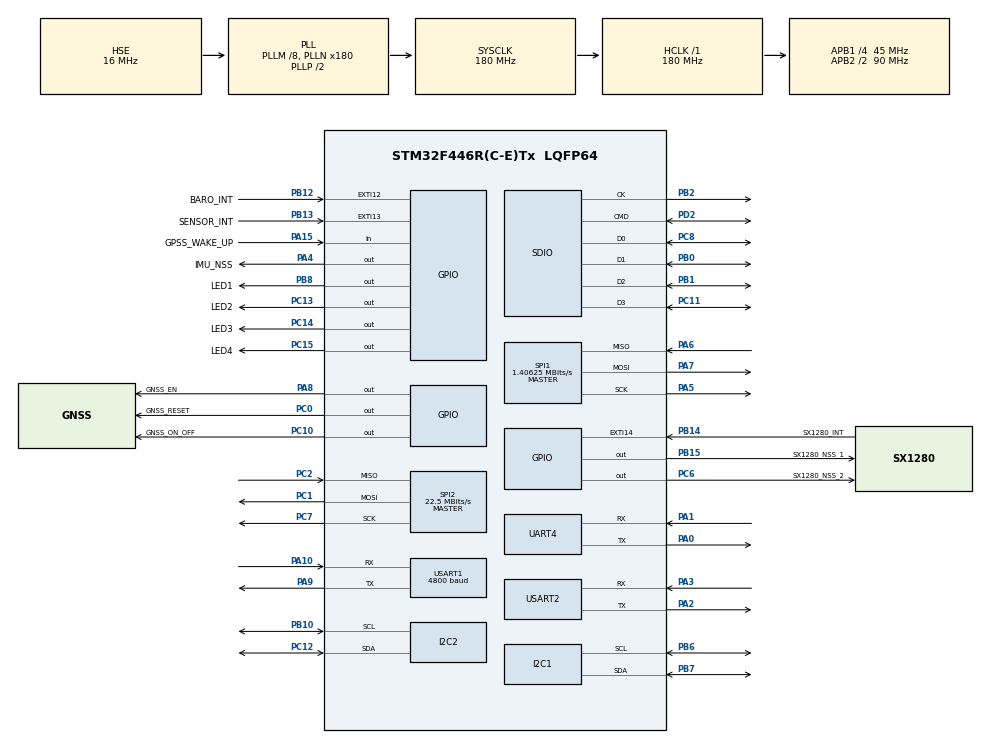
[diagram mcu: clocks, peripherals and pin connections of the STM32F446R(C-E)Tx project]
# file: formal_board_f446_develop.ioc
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Dma.Request0=SDIO_TX
Dma.Request1=SDIO_RX
Dma.SDIO_RX.1.Direction=DMA_PERIPH_TO_MEMORY
Dma.SDIO_RX.1.FIFOMode=DMA_FIFOMODE_ENABLE
Dma.SDIO_RX.1.FIFOThreshold=DMA_FIFO_THRESHOLD_FULL
Dma.SDIO_RX.1.Instance=DMA2_Stream6
Dma.SDIO_RX.1.MemBurst=DMA_MBURST_INC4
Dma.SDIO_RX.1.MemDataAlignment=DMA_MDATAALIGN_WORD
Dma.SDIO_RX.1.MemInc=DMA_MINC_ENABLE
Dma.SDIO_RX.1.Mode=DMA_PFCTRL
Dma.SDIO_RX.1.PeriphBurst=DMA_PBURST_INC4
Dma.SDIO_RX.1.PeriphDataAlignment=DMA_PDATAALIGN_WORD
Dma.SDIO_RX.1.PeriphInc=DMA_PINC_DISABLE
Dma.SDIO_RX.1.Priority=DMA_PRIORITY_LOW
Dma.SDIO_TX.0.Direction=DMA_MEMORY_TO_PERIPH
Dma.SDIO_TX.0.FIFOMode=DMA_FIFOMODE_ENABLE
Dma.SDIO_TX.0.FIFOThreshold=DMA_FIFO_THRESHOLD_FULL
Dma.SDIO_TX.0.Instance=DMA2_Stream3
Dma.SDIO_TX.0.MemBurst=DMA_MBURST_INC4
Dma.SDIO_TX.0.MemDataAlignment=DMA_MDATAALIGN_WORD
Dma.SDIO_TX.0.MemInc=DMA_MINC_ENABLE
Dma.SDIO_TX.0.Mode=DMA_PFCTRL
Dma.SDIO_TX.0.PeriphBurst=DMA_PBURST_INC4
Dma.SDIO_TX.0.PeriphDataAlignment=DMA_PDATAALIGN_WORD
Dma.SDIO_TX.0.PeriphInc=DMA_PINC_DISABLE
Dma.SDIO_TX.0.Priority=DMA_PRIORITY_LOW
FATFS.USE_DMA_CODE_SD=1
Mcu.Family=STM32F4
Mcu.Name=STM32F446R(C-E)Tx
Mcu.Package=LQFP64
NVIC.DMA2_Stream3_IRQn=true\:0\:0\:false\:false\:true\:false\:true\:true
NVIC.DMA2_Stream6_IRQn=true\:0\:0\:false\:false\:true\:false\:true\:true
NVIC.PriorityGroup=NVIC_PRIORITYGROUP_4
NVIC.SDIO_IRQn=true\:0\:0\:false\:false\:true\:true\:true\:true
PA0-WKUP.Mode=Asynchronous
PA0-WKUP.Signal=UART4_TX
PA1.Mode=Asynchronous
PA1.Signal=UART4_RX
PA10.Mode=Asynchronous
PA10.Signal=USART1_RX
PA13.Mode=Serial_Wire
PA13.Signal=SYS_JTMS-SWDIO
PA14.Mode=Serial_Wire
PA14.Signal=SYS_JTCK-SWCLK
PA15.GPIO_Label=GPSS_WAKE_UP
PA15.Signal=GPIO_Input
PA2.Mode=Asynchronous
PA2.Signal=USART2_TX
PA3.Mode=Asynchronous
PA3.Signal=USART2_RX
PA4.GPIO_Label=IMU_NSS
PA4.GPIO_Speed=GPIO_SPEED_FREQ_VERY_HIGH
PA4.PinState=GPIO_PIN_SET
PA4.Signal=GPIO_Output
PA5.Mode=Full_Duplex_Master
PA5.Signal=SPI1_SCK
PA6.GPIO_PuPd=GPIO_PULLUP
PA6.Mode=Full_Duplex_Master
PA6.Signal=SPI1_MISO
PA7.Mode=Full_Duplex_Master
PA7.Signal=SPI1_MOSI
PA8.GPIO_Label=GNSS_EN
PA8.Signal=GPIO_Output
PA9.Mode=Asynchronous
PA9.Signal=USART1_TX
PB0.Mode=SD_4_bits_Wide_bus
PB0.Signal=SDIO_D1
PB1.Mode=SD_4_bits_Wide_bus
PB1.Signal=SDIO_D2
PB10.GPIO_Pu=GPIO_PULLUP
PB10.Mode=I2C
PB10.Signal=I2C2_SCL
PB12.GPIO_Label=BARO_INT
PB12.Signal=GPXTI12
PB13.GPIO_Label=SENSOR_INT
PB13.Signal=GPXTI13
PB14.GPIO_Label=SX1280_INT
PB14.Signal=GPXTI14
PB15.GPIO_Label=SX1280_NSS_1
PB15.Signal=GPIO_Output
PB2.Mode=SD_4_bits_Wide_bus
PB2.Signal=SDIO_CK
PB6.GPIO_Pu=GPIO_PULLUP
PB6.Mode=I2C
PB6.Signal=I2C1_SCL
PB7.GPIO_Pu=GPIO_PULLUP
PB7.Mode=I2C
PB7.Signal=I2C1_SDA
PB8.GPIO_Label=LED1
PB8.Signal=GPIO_Output
PC0.GPIO_Label=GNSS_RESET
PC0.Signal=GPIO_Output
PC1.Mode=Full_Duplex_Master
PC1.Signal=SPI2_MOSI
PC10.GPIO_Label=GNSS_ON_OFF
PC10.GPIO_Speed=GPIO_SPEED_FREQ_HIGH
PC10.PinState=GPIO_PIN_SET
PC10.Signal=GPIO_Output
PC11.Mode=SD_4_bits_Wide_bus
PC11.Signal=SDIO_D3
PC12.GPIO_Pu=GPIO_PULLUP
PC12.Mode=I2C
PC12.Signal=I2C2_SDA
PC13.GPIO_Label=LED2
PC13.Signal=GPIO_Output
PC14-OSC32_IN.GPIO_Label=LED3
PC14-OSC32_IN.Signal=GPIO_Output
PC15-OSC32_OUT.GPIO_Label=LED4
PC15-OSC32_OUT.Signal=GPIO_Output
PC2.Mode=Full_Duplex_Master
PC2.Signal=SPI2_MISO
PC6.GPIO_Label=SX1280_NSS_2
PC6.Signal=GPIO_Output
PC7.Mode=Full_Duplex_Master
PC7.Signal=SPI2_SCK
PC8.Mode=SD_4_bits_Wide_bus
PC8.Signal=SDIO_D0
PD2.Mode=SD_4_bits_Wide_bus
PD2.Signal=SDIO_CMD
PH0-OSC_IN.Mode=HSE-External-Oscillator
PH0-OSC_IN.Signal=RCC_OSC_IN
PH1-OSC_OUT.Mode=HSE-External-Oscillator
PH1-OSC_OUT.Signal=RCC_OSC_OUT
ProjectManager.HeapSize=0x200
ProjectManager.StackSize=0x400
ProjectManager.TargetToolchain=STM32CubeIDE
RCC.AHBFreq_Value=180000000
RCC.APB1CLKDivider=RCC_HCLK_DIV4
RCC.APB1Freq_Value=45000000
RCC.APB1TimFreq_Value=90000000
RCC.APB2CLKDivider=RCC_HCLK_DIV2
RCC.APB2Freq_Value=90000000
RCC.APB2TimFreq_Value=180000000
RCC.CortexFreq_Value=180000000
RCC.HCLKFreq_Value=180000000
RCC.HSE_VALUE=16000000
RCC.PLLM=8
RCC.PLLN=180
RCC.PLLQ=8
RCC.PLLSourceVirtual=RCC_PLLSOURCE_HSE
RCC.SYSCLKFreq_VALUE=180000000
RCC.SYSCLKSource=RCC_SYSCLKSOURCE_PLLCLK
RCC.USBFreq_Value=45000000
RCC.VCOOutputFreq_Value=360000000
SDIO.ClockDiv=4
SPI1.BaudRatePrescaler=SPI_BAUDRATEPRESCALER_64
SPI1.CalculateBaudRate=1.40625 MBits/s
SPI1.Direction=SPI_DIRECTION_2LINES
SPI1.Mode=SPI_MODE_MASTER
SPI1.VirtualType=VM_MASTER
SPI2.BaudRatePrescaler=SPI_BAUDRATEPRESCALER_2
SPI2.CalculateBaudRate=22.5 MBits/s
SPI2.Direction=SPI_DIRECTION_2LINES
SPI2.Mode=SPI_MODE_MASTER
SPI2.VirtualType=VM_MASTER
UART4.VirtualMode=Asynchronous
USART1.BaudRate=4800
USART1.VirtualMode=VM_ASYNC
USART2.VirtualMode=VM_ASYNC
VP_FATFS_VS_SDIO.Mode=SDIO
board=custom

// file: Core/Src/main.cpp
/* USER CODE BEGIN Header */
/**
 ******************************************************************************
 * @file           : main.c
 * @brief          : Main program body
 ******************************************************************************
 * @attention
 *
 * Copyright (c) 2023 STMicroelectronics.
 * All rights reserved.
 *
 * This software is licensed under terms that can be found in the LICENSE file
 * in the root directory of this software component.
 * If no LICENSE file comes with this software, it is provided AS-IS.
 *
 ******************************************************************************
 */
/* USER CODE END Header */
#include "main.h"
#include "fatfs.h"

/* USER CODE BEGIN Includes */
#include "util.h"
#include "Pressure_WSEN_PADS.h"
#include "IMU_3DIM_WSEN_ITDS.h"
#include "IMU_6DIM_WSEN_ISDS.h"
/* USER CODE END Includes */

/* USER CODE BEGIN PD */
#define WSEN_ITDS_SAO 0
#define WSEN_PADS_SAO 0
#define WSEN_ISDS_CS_PORT IMU_NSS_GPIO_Port
#define WSEN_ISDS_CS_PIN IMU_NSS_Pin
/* USER CODE END PD */

I2C_HandleTypeDef hi2c1;
I2C_HandleTypeDef hi2c2;

SD_HandleTypeDef hsd;
DMA_HandleTypeDef hdma_sdio_tx;
DMA_HandleTypeDef hdma_sdio_rx;

SPI_HandleTypeDef hspi1;
SPI_HandleTypeDef hspi2;

UART_HandleTypeDef huart4;
UART_HandleTypeDef huart1;
UART_HandleTypeDef huart2;

/* USER CODE BEGIN PV */
Pressure_WSEN_PADS altimeter_WE(&hi2c1, WSEN_PADS_SAO);
IMU_3DIM_WSEN_ITDS accelerator_WE(&hi2c1, WSEN_ITDS_SAO);
IMU_6DIM_WSEN_ISDS IMU_WE(&hspi1, WSEN_ISDS_CS_PORT, WSEN_ISDS_CS_PIN);
uint8_t Rx_data[10];
/* USER CODE END PV */

void SystemClock_Config(void);
static void MX_GPIO_Init(void);
static void MX_DMA_Init(void);
static void MX_I2C1_Init(void);
static void MX_I2C2_Init(void);
static void MX_SDIO_SD_Init(void);
static void MX_SPI1_Init(void);
static void MX_SPI2_Init(void);
static void MX_UART4_Init(void);
static void MX_USART1_UART_Init(void);
static void MX_USART2_UART_Init(void);

int main(void)
{
  /* USER CODE BEGIN 1 */
  bool ready = false;
  uint8_t addr[128] = {};
  uint8_t num = 0;

  /* USER CODE END 1 */

  /* MCU Configuration--------------------------------------------------------*/

  /* Reset of all peripherals, Initializes the Flash interface and the Systick. */
  HAL_Init();

  /* Configure the system clock */
  SystemClock_Config();

  /* Initialize all configured peripherals */
  MX_GPIO_Init();
  MX_DMA_Init();
  MX_I2C1_Init();
  MX_I2C2_Init();
  MX_SDIO_SD_Init();
  MX_SPI1_Init();
  MX_SPI2_Init();
  MX_UART4_Init();
  MX_USART1_UART_Init();
  MX_USART2_UART_Init();
  MX_FATFS_Init();
  /* USER CODE BEGIN 2 */
  FATFS fs;
  FIL fil;
  FRESULT fresult;

  fresult = f_mount(&fs, "/", 1);

  i2c_addr_scan(&hi2c1);
  i2c_addr_scan(&hi2c2);

  HAL_Delay(100);
  debug_print("Test start.\r\n");

  HAL_GPIO_WritePin(LED1_GPIO_Port, LED1_Pin, GPIO_PIN_SET);
  HAL_GPIO_WritePin(LED2_GPIO_Port, LED2_Pin, GPIO_PIN_SET);
  HAL_GPIO_WritePin(LED3_GPIO_Port, LED3_Pin, GPIO_PIN_SET);
  HAL_GPIO_WritePin(LED4_GPIO_Port, LED4_Pin, GPIO_PIN_SET);

  ready = altimeter_WE.isCommunicationReady();
  if (ready == false)
  {
    debug_print("WE altimeter communicates fails.\r\n");
    HAL_GPIO_WritePin(LED1_GPIO_Port, LED1_Pin, GPIO_PIN_RESET);
  }
  ready = IMU_WE.isCommunicationReady();
  if (ready == false)
  {
    debug_print("WE 6-dim IMU communicates fails\r\n");
    HAL_GPIO_WritePin(LED2_GPIO_Port, LED2_Pin, GPIO_PIN_RESET);
  }
  ready = accelerator_WE.isCommunicationReady();
  if (ready == false)
  {
    debug_print("WE 3-dim IMU communicates fails\r\n");
    HAL_GPIO_WritePin(LED3_GPIO_Port, LED3_Pin, GPIO_PIN_RESET);
  }

  HAL_GPIO_WritePin(GNSS_EN_GPIO_Port, GNSS_EN_Pin, GPIO_PIN_SET);
  HAL_Delay(1000);
  HAL_GPIO_WritePin(GNSS_ON_OFF_GPIO_Port, GNSS_ON_OFF_Pin, GPIO_PIN_RESET);
  char text[50];
  int num_text;
  num_text = sprintf(text, "$PSRF101,0,0,0,0,0,0,12,1*15");
  HAL_UART_Transmit(&huart1, (unsigned char *)text, num_text, 10);
  /* USER CODE END 2 */

  /* Infinite loop */
  /* USER CODE BEGIN WHILE */
  HAL_UART_Receive_DMA (&huart1, Rx_data, 10);
  HAL_StatusTypeDef rv;
  num_text = sprintf(text, "$PSRF125*21");
  while (1)
  {
	rv = HAL_UART_Transmit(&huart1, (unsigned char *)text, 11, 10);
    // HAL_UART_Transmit(&huart2, (unsigned char *)text, 12, 10);

    /* USER CODE END WHILE */

    /* USER CODE BEGIN 3 */
	HAL_Delay(100);
  }
  /* USER CODE END 3 */
}

void SystemClock_Config(void)
{
  RCC_OscInitTypeDef RCC_OscInitStruct = {0};
  RCC_ClkInitTypeDef RCC_ClkInitStruct = {0};

  /** Configure the main internal regulator output voltage
  */
  __HAL_RCC_PWR_CLK_ENABLE();
  __HAL_PWR_VOLTAGESCALING_CONFIG(PWR_REGULATOR_VOLTAGE_SCALE1);

  /** Initializes the RCC Oscillators according to the specified parameters
  * in the RCC_OscInitTypeDef structure.
  */
  RCC_OscInitStruct.OscillatorType = RCC_OSCILLATORTYPE_HSE;
  RCC_OscInitStruct.HSEState = RCC_HSE_ON;
  RCC_OscInitStruct.PLL.PLLState = RCC_PLL_ON;
  RCC_OscInitStruct.PLL.PLLSource = RCC_PLLSOURCE_HSE;
  RCC_OscInitStruct.PLL.PLLM = 8;
  RCC_OscInitStruct.PLL.PLLN = 180;
  RCC_OscInitStruct.PLL.PLLP = RCC_PLLP_DIV2;
  RCC_OscInitStruct.PLL.PLLQ = 8;
  RCC_OscInitStruct.PLL.PLLR = 2;
  if (HAL_RCC_OscConfig(&RCC_OscInitStruct) != HAL_OK)
  {
    Error_Handler();
  }

  /** Activate the Over-Drive mode
  */
  if (HAL_PWREx_EnableOverDrive() != HAL_OK)
  {
    Error_Handler();
  }

  /** Initializes the CPU, AHB and APB buses clocks
  */
  RCC_ClkInitStruct.ClockType = RCC_CLOCKTYPE_HCLK|RCC_CLOCKTYPE_SYSCLK
                              |RCC_CLOCKTYPE_PCLK1|RCC_CLOCKTYPE_PCLK2;
  RCC_ClkInitStruct.SYSCLKSource = RCC_SYSCLKSOURCE_PLLCLK;
  RCC_ClkInitStruct.AHBCLKDivider = RCC_SYSCLK_DIV1;
  RCC_ClkInitStruct.APB1CLKDivider = RCC_HCLK_DIV4;
  RCC_ClkInitStruct.APB2CLKDivider = RCC_HCLK_DIV2;

  if (HAL_RCC_ClockConfig(&RCC_ClkInitStruct, FLASH_LATENCY_5) != HAL_OK)
  {
    Error_Handler();
  }
}

static void MX_I2C1_Init(void)
{

  hi2c1.Instance = I2C1;
  hi2c1.Init.ClockSpeed = 100000;
  hi2c1.Init.DutyCycle = I2C_DUTYCYCLE_2;
  hi2c1.Init.OwnAddress1 = 0;
  hi2c1.Init.AddressingMode = I2C_ADDRESSINGMODE_7BIT;
  hi2c1.Init.DualAddressMode = I2C_DUALADDRESS_DISABLE;
  hi2c1.Init.OwnAddress2 = 0;
  hi2c1.Init.GeneralCallMode = I2C_GENERALCALL_DISABLE;
  hi2c1.Init.NoStretchMode = I2C_NOSTRETCH_DISABLE;
  if (HAL_I2C_Init(&hi2c1) != HAL_OK)
  {
    Error_Handler();
  }

}

static void MX_I2C2_Init(void)
{

  hi2c2.Instance = I2C2;
  hi2c2.Init.ClockSpeed = 100000;
  hi2c2.Init.DutyCycle = I2C_DUTYCYCLE_2;
  hi2c2.Init.OwnAddress1 = 0;
  hi2c2.Init.AddressingMode = I2C_ADDRESSINGMODE_7BIT;
  hi2c2.Init.DualAddressMode = I2C_DUALADDRESS_DISABLE;
  hi2c2.Init.OwnAddress2 = 0;
  hi2c2.Init.GeneralCallMode = I2C_GENERALCALL_DISABLE;
  hi2c2.Init.NoStretchMode = I2C_NOSTRETCH_DISABLE;
  if (HAL_I2C_Init(&hi2c2) != HAL_OK)
  {
    Error_Handler();
  }

}

static void MX_SDIO_SD_Init(void)
{

  hsd.Instance = SDIO;
  hsd.Init.ClockEdge = SDIO_CLOCK_EDGE_RISING;
  hsd.Init.ClockBypass = SDIO_CLOCK_BYPASS_DISABLE;
  hsd.Init.ClockPowerSave = SDIO_CLOCK_POWER_SAVE_DISABLE;
  hsd.Init.BusWide = SDIO_BUS_WIDE_4B;
  hsd.Init.HardwareFlowControl = SDIO_HARDWARE_FLOW_CONTROL_DISABLE;
  hsd.Init.ClockDiv = 4;

}

static void MX_SPI1_Init(void)
{

  /* SPI1 parameter configuration*/
  hspi1.Instance = SPI1;
  hspi1.Init.Mode = SPI_MODE_MASTER;
  hspi1.Init.Direction = SPI_DIRECTION_2LINES;
  hspi1.Init.DataSize = SPI_DATASIZE_8BIT;
  hspi1.Init.CLKPolarity = SPI_POLARITY_LOW;
  hspi1.Init.CLKPhase = SPI_PHASE_1EDGE;
  hspi1.Init.NSS = SPI_NSS_SOFT;
  hspi1.Init.BaudRatePrescaler = SPI_BAUDRATEPRESCALER_64;
  hspi1.Init.FirstBit = SPI_FIRSTBIT_MSB;
  hspi1.Init.TIMode = SPI_TIMODE_DISABLE;
  hspi1.Init.CRCCalculation = SPI_CRCCALCULATION_DISABLE;
  hspi1.Init.CRCPolynomial = 10;
  if (HAL_SPI_Init(&hspi1) != HAL_OK)
  {
    Error_Handler();
  }

}

static void MX_SPI2_Init(void)
{

  /* SPI2 parameter configuration*/
  hspi2.Instance = SPI2;
  hspi2.Init.Mode = SPI_MODE_MASTER;
  hspi2.Init.Direction = SPI_DIRECTION_2LINES;
  hspi2.Init.DataSize = SPI_DATASIZE_8BIT;
  hspi2.Init.CLKPolarity = SPI_POLARITY_LOW;
  hspi2.Init.CLKPhase = SPI_PHASE_1EDGE;
  hspi2.Init.NSS = SPI_NSS_SOFT;
  hspi2.Init.BaudRatePrescaler = SPI_BAUDRATEPRESCALER_2;
  hspi2.Init.FirstBit = SPI_FIRSTBIT_MSB;
  hspi2.Init.TIMode = SPI_TIMODE_DISABLE;
  hspi2.Init.CRCCalculation = SPI_CRCCALCULATION_DISABLE;
  hspi2.Init.CRCPolynomial = 10;
  if (HAL_SPI_Init(&hspi2) != HAL_OK)
  {
    Error_Handler();
  }

}

static void MX_UART4_Init(void)
{

  huart4.Instance = UART4;
  huart4.Init.BaudRate = 115200;
  huart4.Init.WordLength = UART_WORDLENGTH_8B;
  huart4.Init.StopBits = UART_STOPBITS_1;
  huart4.Init.Parity = UART_PARITY_NONE;
  huart4.Init.Mode = UART_MODE_TX_RX;
  huart4.Init.HwFlowCtl = UART_HWCONTROL_NONE;
  huart4.Init.OverSampling = UART_OVERSAMPLING_16;
  if (HAL_UART_Init(&huart4) != HAL_OK)
  {
    Error_Handler();
  }

}

static void MX_USART1_UART_Init(void)
{

  huart1.Instance = USART1;
  huart1.Init.BaudRate = 4800;
  huart1.Init.WordLength = UART_WORDLENGTH_8B;
  huart1.Init.StopBits = UART_STOPBITS_1;
  huart1.Init.Parity = UART_PARITY_NONE;
  huart1.Init.Mode = UART_MODE_TX_RX;
  huart1.Init.HwFlowCtl = UART_HWCONTROL_NONE;
  huart1.Init.OverSampling = UART_OVERSAMPLING_16;
  if (HAL_UART_Init(&huart1) != HAL_OK)
  {
    Error_Handler();
  }

}

static void MX_USART2_UART_Init(void)
{

  huart2.Instance = USART2;
  huart2.Init.BaudRate = 115200;
  huart2.Init.WordLength = UART_WORDLENGTH_8B;
  huart2.Init.StopBits = UART_STOPBITS_1;
  huart2.Init.Parity = UART_PARITY_NONE;
  huart2.Init.Mode = UART_MODE_TX_RX;
  huart2.Init.HwFlowCtl = UART_HWCONTROL_NONE;
  huart2.Init.OverSampling = UART_OVERSAMPLING_16;
  if (HAL_UART_Init(&huart2) != HAL_OK)
  {
    Error_Handler();
  }

}

static void MX_DMA_Init(void)
{

  /* DMA controller clock enable */
  __HAL_RCC_DMA2_CLK_ENABLE();

  /* DMA interrupt init */
  /* DMA2_Stream3_IRQn interrupt configuration */
  HAL_NVIC_SetPriority(DMA2_Stream3_IRQn, 0, 0);
  HAL_NVIC_EnableIRQ(DMA2_Stream3_IRQn);
  /* DMA2_Stream6_IRQn interrupt configuration */
  HAL_NVIC_SetPriority(DMA2_Stream6_IRQn, 0, 0);
  HAL_NVIC_EnableIRQ(DMA2_Stream6_IRQn);

}

static void MX_GPIO_Init(void)
{
  GPIO_InitTypeDef GPIO_InitStruct = {0};

  /* GPIO Ports Clock Enable */
  __HAL_RCC_GPIOC_CLK_ENABLE();
  __HAL_RCC_GPIOH_CLK_ENABLE();
  __HAL_RCC_GPIOA_CLK_ENABLE();
  __HAL_RCC_GPIOB_CLK_ENABLE();
  __HAL_RCC_GPIOD_CLK_ENABLE();

  /*Configure GPIO pin Output Level */
  HAL_GPIO_WritePin(GPIOC, LED2_Pin|LED3_Pin|LED4_Pin|GNSS_RESET_Pin
                          |SX1280_NSS_2_Pin, GPIO_PIN_RESET);

  /*Configure GPIO pin Output Level */
  HAL_GPIO_WritePin(IMU_NSS_GPIO_Port, IMU_NSS_Pin, GPIO_PIN_SET);

  /*Configure GPIO pin Output Level */
  HAL_GPIO_WritePin(GPIOB, SX1280_NSS_1_Pin|LED1_Pin, GPIO_PIN_RESET);

  /*Configure GPIO pin Output Level */
  HAL_GPIO_WritePin(GNSS_EN_GPIO_Port, GNSS_EN_Pin, GPIO_PIN_RESET);

  /*Configure GPIO pin Output Level */
  HAL_GPIO_WritePin(GNSS_ON_OFF_GPIO_Port, GNSS_ON_OFF_Pin, GPIO_PIN_SET);

  /*Configure GPIO pins : LED2_Pin LED3_Pin LED4_Pin GNSS_RESET_Pin
                           SX1280_NSS_2_Pin */
  GPIO_InitStruct.Pin = LED2_Pin|LED3_Pin|LED4_Pin|GNSS_RESET_Pin
                          |SX1280_NSS_2_Pin;
  GPIO_InitStruct.Mode = GPIO_MODE_OUTPUT_PP;
  GPIO_InitStruct.Pull = GPIO_NOPULL;
  GPIO_InitStruct.Speed = GPIO_SPEED_FREQ_LOW;
  HAL_GPIO_Init(GPIOC, &GPIO_InitStruct);

  /*Configure GPIO pin : IMU_NSS_Pin */
  GPIO_InitStruct.Pin = IMU_NSS_Pin;
  GPIO_InitStruct.Mode = GPIO_MODE_OUTPUT_PP;
  GPIO_InitStruct.Pull = GPIO_NOPULL;
  GPIO_InitStruct.Speed = GPIO_SPEED_FREQ_VERY_HIGH;
  HAL_GPIO_Init(IMU_NSS_GPIO_Port, &GPIO_InitStruct);

  /*Configure GPIO pins : BARO_INT_Pin SENSOR_INT_Pin SX1280_INT_Pin */
  GPIO_InitStruct.Pin = BARO_INT_Pin|SENSOR_INT_Pin|SX1280_INT_Pin;
  GPIO_InitStruct.Mode = GPIO_MODE_IT_RISING;
  GPIO_InitStruct.Pull = GPIO_NOPULL;
  HAL_GPIO_Init(GPIOB, &GPIO_InitStruct);

  /*Configure GPIO pins : SX1280_NSS_1_Pin LED1_Pin */
  GPIO_InitStruct.Pin = SX1280_NSS_1_Pin|LED1_Pin;
  GPIO_InitStruct.Mode = GPIO_MODE_OUTPUT_PP;
  GPIO_InitStruct.Pull = GPIO_NOPULL;
  GPIO_InitStruct.Speed = GPIO_SPEED_FREQ_LOW;
  HAL_GPIO_Init(GPIOB, &GPIO_InitStruct);

  /*Configure GPIO pin : GNSS_EN_Pin */
  GPIO_InitStruct.Pin = GNSS_EN_Pin;
  GPIO_InitStruct.Mode = GPIO_MODE_OUTPUT_PP;
  GPIO_InitStruct.Pull = GPIO_NOPULL;
  GPIO_InitStruct.Speed = GPIO_SPEED_FREQ_LOW;
  HAL_GPIO_Init(GNSS_EN_GPIO_Port, &GPIO_InitStruct);

  /*Configure GPIO pin : GPSS_WAKE_UP_Pin */
  GPIO_InitStruct.Pin = GPSS_WAKE_UP_Pin;
  GPIO_InitStruct.Mode = GPIO_MODE_INPUT;
  GPIO_InitStruct.Pull = GPIO_NOPULL;
  HAL_GPIO_Init(GPSS_WAKE_UP_GPIO_Port, &GPIO_InitStruct);

  /*Configure GPIO pin : GNSS_ON_OFF_Pin */
  GPIO_InitStruct.Pin = GNSS_ON_OFF_Pin;
  GPIO_InitStruct.Mode = GPIO_MODE_OUTPUT_PP;
  GPIO_InitStruct.Pull = GPIO_NOPULL;
  GPIO_InitStruct.Speed = GPIO_SPEED_FREQ_HIGH;
  HAL_GPIO_Init(GNSS_ON_OFF_GPIO_Port, &GPIO_InitStruct);

}

void Error_Handler(void)
{
  __disable_irq();
  while (1)
  {
  }
}
